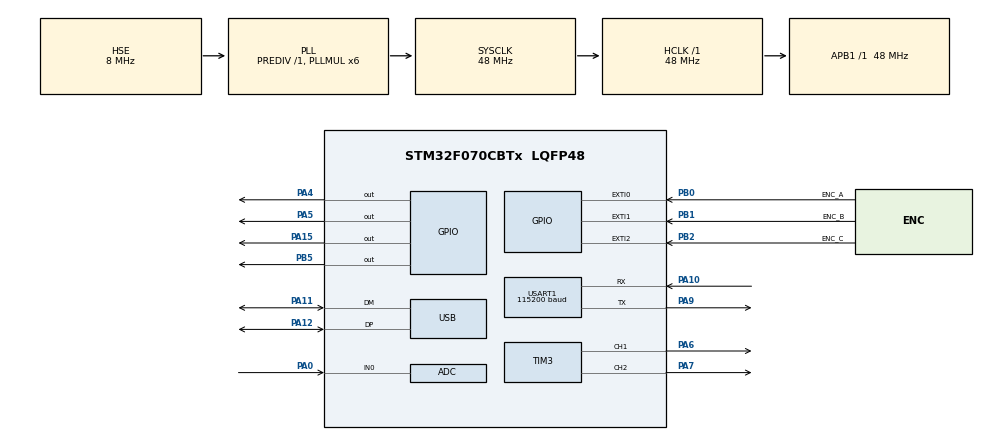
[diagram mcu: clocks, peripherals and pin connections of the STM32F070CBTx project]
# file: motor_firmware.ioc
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Mcu.Family=STM32F0
Mcu.Name=STM32F070CBTx
Mcu.Package=LQFP48
NVIC.EXTI0_1_IRQn=true\:0\:0\:false\:true\:true\:1\:true\:true
NVIC.EXTI2_3_IRQn=true\:0\:0\:false\:true\:true\:2\:true\:true
NVIC.USART1_IRQn=true\:0\:0\:false\:false\:true\:true\:true
NVIC.USB_IRQn=true\:0\:0\:false\:false\:true\:true\:true
PA0.Mode=IN0
PA0.Signal=ADC_IN0
PA10.Mode=Asynchronous
PA10.Signal=USART1_RX
PA11.Mode=Device
PA11.Signal=USB_DM
PA12.Mode=Device
PA12.Signal=USB_DP
PA15.PinState=GPIO_PIN_SET
PA15.Signal=GPIO_Output
PA4.Signal=GPIO_Output
PA5.Signal=GPIO_Output
PA6.Signal=S_TIM3_CH1
PA7.Signal=S_TIM3_CH2
PA9.Mode=Asynchronous
PA9.Signal=USART1_TX
PB0.GPIO_Label=ENC_A
PB0.GPIO_PuPd=GPIO_PULLUP
PB0.Signal=GPXTI0
PB1.GPIO_Label=ENC_B
PB1.GPIO_PuPd=GPIO_PULLUP
PB1.Signal=GPXTI1
PB2.GPIO_Label=ENC_C
PB2.GPIO_PuPd=GPIO_PULLUP
PB2.Signal=GPXTI2
PB5.Signal=GPIO_Output
PF0-OSC_IN.Mode=HSE-External-Oscillator
PF0-OSC_IN.Signal=RCC_OSC_IN
PF1-OSC_OUT.Mode=HSE-External-Oscillator
PF1-OSC_OUT.Signal=RCC_OSC_OUT
ProjectManager.HeapSize=0x200
ProjectManager.StackSize=0x400
ProjectManager.TargetToolchain=Makefile
RCC.AHBFreq_Value=48000000
RCC.APB1Freq_Value=48000000
RCC.APB1TimFreq_Value=48000000
RCC.HCLKFreq_Value=48000000
RCC.PLLMUL=RCC_PLL_MUL6
RCC.SYSCLKFreq_VALUE=48000000
RCC.SYSCLKSource=RCC_SYSCLKSOURCE_PLLCLK
SH.S_TIM3_CH1.0=TIM3_CH1,PWM Generation1 CH1
SH.S_TIM3_CH2.0=TIM3_CH2,PWM Generation2 CH2
TIM3.Channel-PWM\ Generation1\ CH1=TIM_CHANNEL_1
TIM3.Channel-PWM\ Generation2\ CH2=TIM_CHANNEL_2
USART1.BaudRate=115200
USART1.VirtualMode-Asynchronous=VM_ASYNC
USB_DEVICE.APP_RX_DATA_SIZE=100
USB_DEVICE.APP_TX_DATA_SIZE=100
USB_DEVICE.CLASS_NAME_FS=CDC
USB_DEVICE.MANUFACTURER_STRING=reboot.love
USB_DEVICE.PRODUCT_STRING_CDC_FS=brushed_motor_controller
USB_DEVICE.VirtualMode=Cdc
USB_DEVICE.VirtualModeFS=Cdc_FS
VP_TIM1_VS_ClockSourceINT.Mode=Internal
VP_TIM3_VS_ClockSourceINT.Mode=Internal
VP_TIM3_VS_ClockSourceITR.Mode=TriggerSource_ITR0
VP_USB_DEVICE_VS_USB_DEVICE_CDC_FS.Mode=CDC_FS
board=custom

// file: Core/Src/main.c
/* USER CODE BEGIN Header */
/**
  ******************************************************************************
  * @file           : main.c
  * @brief          : Main program body
  ******************************************************************************
  * @attention
  *
  * <h2><center>&copy; Copyright (c) 2021 STMicroelectronics.
  * All rights reserved.</center></h2>
  *
  * This software component is licensed by ST under Ultimate Liberty license
  * SLA0044, the "License"; You may not use this file except in compliance with
  * the License. You may obtain a copy of the License at:
  *                             www.st.com/SLA0044
  *
  ******************************************************************************
  */
/* USER CODE END Header */
#include "main.h"
#include "usb_device.h"

ADC_HandleTypeDef hadc;

TIM_HandleTypeDef htim1;
TIM_HandleTypeDef htim3;

UART_HandleTypeDef huart1;

/* USER CODE BEGIN PV */

volatile uint32_t enc_a_count = 0;
volatile uint32_t enc_b_count = 0;
volatile uint32_t enc_c_count = 0;

/* USER CODE END PV */

void SystemClock_Config(void);
static void MX_GPIO_Init(void);
static void MX_ADC_Init(void);
static void MX_TIM1_Init(void);
static void MX_TIM3_Init(void);
static void MX_USART1_UART_Init(void);
static void MX_NVIC_Init(void);

int main(void)
{

  /* MCU Configuration--------------------------------------------------------*/

  /* Reset of all peripherals, Initializes the Flash interface and the Systick. */
  HAL_Init();

  /* Configure the system clock */
  SystemClock_Config();

  /* Initialize all configured peripherals */
  MX_GPIO_Init();
  MX_ADC_Init();
  MX_TIM1_Init();
  MX_TIM3_Init();
  MX_USART1_UART_Init();
  MX_USB_DEVICE_Init();

  /* Initialize interrupts */
  MX_NVIC_Init();

  /* Infinite loop */
  /* USER CODE BEGIN WHILE */
  uint8_t* Buf [20];
  uint16_t Len = 5;

  int dutyCycle = 0;

  CDC_Transmit_FS("USB START\n", 10);

  HAL_Delay(5000);

  HAL_TIM_PWM_Start(&htim3, TIM_CHANNEL_1);    //starts PWM on CH2 pin
  HAL_GPIO_WritePin(GPIOA, GPIO_PIN_4, GPIO_PIN_RESET);

  HAL_TIM_PWM_Start(&htim3, TIM_CHANNEL_2);    //starts PWM on CH2 pin
  HAL_GPIO_WritePin(GPIOA, GPIO_PIN_5, GPIO_PIN_RESET);

  HAL_ADCEx_Calibration_Start(&hadc);

  HAL_ADC_Start(&hadc);
  uint16_t current_sense = 0;

  int increment = 2000;
  uint8_t usb_buffer [100];
  uint32_t loop_count = 0;
  uint32_t loop_limit = 20;
  uint32_t speed = 0;
  while (1)
  {
    loop_count+=1;
    /* USER CODE END WHILE */

    /* USER CODE BEGIN 3 */

    int count = VCP_read(&usb_buffer, 10);

    if(count>0)
    {
      Len = sprintf (Buf, "count: %d\n", count);
      CDC_Transmit_FS(Buf, Len);
      HAL_Delay(1);
      CDC_Transmit_FS(usb_buffer, count);
    }
    //
    int i;
    for(i=0;i<100;i++)
    {

      if(usb_buffer[i]=='B')
      {
      HAL_Delay(1);
        CDC_Transmit_FS("GOT B\n", 6);
        dutyCycle = 60000;
      }
      if(usb_buffer[i]=='N')
      {
      HAL_Delay(1);
        CDC_Transmit_FS("GOT N\n", 6);
        dutyCycle = -1;
      }
      usb_buffer[i] = 0;
    }

      HAL_Delay(1);
      //dutyCycle+=increment;
      if(dutyCycle>64000)
      {
        increment *= -1;
      }
      if(dutyCycle<-64000)
      {
        increment *= -1;
      }

      if(dutyCycle > 0)
      {

        HAL_GPIO_WritePin(GPIOA, GPIO_PIN_5, GPIO_PIN_RESET);
        __HAL_TIM_SET_COMPARE(&htim3, TIM_CHANNEL_2, 0); //sets the PWM duty cycle (Capture Compare Value
          HAL_Delay(1);
        HAL_GPIO_WritePin(GPIOA, GPIO_PIN_4, GPIO_PIN_SET);
        __HAL_TIM_SET_COMPARE(&htim3, TIM_CHANNEL_1, dutyCycle); //sets the PWM duty cycle (Capture Compare Value
      }
      else{

          HAL_GPIO_WritePin(GPIOA, GPIO_PIN_4, GPIO_PIN_RESET);
        __HAL_TIM_SET_COMPARE(&htim3, TIM_CHANNEL_1, 0); //sets the PWM duty cycle (Capture Compare Value
          HAL_Delay(1);
          HAL_GPIO_WritePin(GPIOA, GPIO_PIN_5, GPIO_PIN_SET);
        __HAL_TIM_SET_COMPARE(&htim3, TIM_CHANNEL_2, -dutyCycle); //sets the PWM duty cycle (Capture Compare Value
      }
      HAL_ADC_Start(&hadc);
      // Poll ADC1 Perihperal & TimeOut = 1mSec
      HAL_ADC_PollForConversion(&hadc, 0);
      current_sense = HAL_ADC_GetValue(&hadc);

      // HAL_ADC_PollForConversion(&hadc, 1);
      // HAL_ADC_GetValue(&hadc);
      if(loop_count > loop_limit)
      {
        loop_count = 0;
        speed = enc_a_count;
        Len = sprintf (Buf, "current: %d\n", speed);
        CDC_Transmit_FS(Buf, Len);
        enc_a_count = 0;
      }

      // if(speed > 8)
      // {
      //   dutyCycle-= 100;
      // }
      // if(speed < 6)
      // {
      //   dutyCycle+= 100;
      //
      // }
      // if(dutyCycle > 64000) dutyCycle=64000;
      // if(dutyCycle < 1) dutyCycle=1;

      //CDC_Putc(usb_buffer);

      // HAL_GPIO_WritePin(GPIOA, GPIO_PIN_6, GPIO_PIN_SET);
      // HAL_GPIO_WritePin(GPIOA, GPIO_PIN_4, GPIO_PIN_SET);
      // HAL_Delay(50);
      //

      // HAL_GPIO_WritePin(GPIOA, GPIO_PIN_6, GPIO_PIN_RESET);
      // HAL_GPIO_WritePin(GPIOA, GPIO_PIN_4, GPIO_PIN_RESET);
      // HAL_Delay(50);

  }
  /* USER CODE END 3 */
}

void SystemClock_Config(void)
{
  RCC_OscInitTypeDef RCC_OscInitStruct = {0};
  RCC_ClkInitTypeDef RCC_ClkInitStruct = {0};
  RCC_PeriphCLKInitTypeDef PeriphClkInit = {0};

  /** Initializes the RCC Oscillators according to the specified parameters
  * in the RCC_OscInitTypeDef structure.
  */
  RCC_OscInitStruct.OscillatorType = RCC_OSCILLATORTYPE_HSI14|RCC_OSCILLATORTYPE_HSE;
  RCC_OscInitStruct.HSEState = RCC_HSE_ON;
  RCC_OscInitStruct.HSI14State = RCC_HSI14_ON;
  RCC_OscInitStruct.HSI14CalibrationValue = 16;
  RCC_OscInitStruct.PLL.PLLState = RCC_PLL_ON;
  RCC_OscInitStruct.PLL.PLLSource = RCC_PLLSOURCE_HSE;
  RCC_OscInitStruct.PLL.PLLMUL = RCC_PLL_MUL6;
  RCC_OscInitStruct.PLL.PREDIV = RCC_PREDIV_DIV1;
  if (HAL_RCC_OscConfig(&RCC_OscInitStruct) != HAL_OK)
  {
    Error_Handler();
  }
  /** Initializes the CPU, AHB and APB buses clocks
  */
  RCC_ClkInitStruct.ClockType = RCC_CLOCKTYPE_HCLK|RCC_CLOCKTYPE_SYSCLK
                              |RCC_CLOCKTYPE_PCLK1;
  RCC_ClkInitStruct.SYSCLKSource = RCC_SYSCLKSOURCE_PLLCLK;
  RCC_ClkInitStruct.AHBCLKDivider = RCC_SYSCLK_DIV1;
  RCC_ClkInitStruct.APB1CLKDivider = RCC_HCLK_DIV1;

  if (HAL_RCC_ClockConfig(&RCC_ClkInitStruct, FLASH_LATENCY_1) != HAL_OK)
  {
    Error_Handler();
  }
  PeriphClkInit.PeriphClockSelection = RCC_PERIPHCLK_USB|RCC_PERIPHCLK_USART1;
  PeriphClkInit.Usart1ClockSelection = RCC_USART1CLKSOURCE_PCLK1;
  PeriphClkInit.UsbClockSelection = RCC_USBCLKSOURCE_PLL;

  if (HAL_RCCEx_PeriphCLKConfig(&PeriphClkInit) != HAL_OK)
  {
    Error_Handler();
  }
}

/**
  * @brief NVIC Configuration.
  * @retval None
  */
static void MX_NVIC_Init(void)
{
  /* EXTI0_1_IRQn interrupt configuration */
  HAL_NVIC_SetPriority(EXTI0_1_IRQn, 0, 0);
  HAL_NVIC_EnableIRQ(EXTI0_1_IRQn);
  /* EXTI2_3_IRQn interrupt configuration */
  HAL_NVIC_SetPriority(EXTI2_3_IRQn, 0, 0);
  HAL_NVIC_EnableIRQ(EXTI2_3_IRQn);
}

static void MX_ADC_Init(void)
{

  ADC_ChannelConfTypeDef sConfig = {0};

  /** Configure the global features of the ADC (Clock, Resolution, Data Alignment and number of conversion)
  */
  hadc.Instance = ADC1;
  hadc.Init.ClockPrescaler = ADC_CLOCK_ASYNC_DIV1;
  hadc.Init.Resolution = ADC_RESOLUTION_12B;
  hadc.Init.DataAlign = ADC_DATAALIGN_RIGHT;
  hadc.Init.ScanConvMode = ADC_SCAN_DIRECTION_FORWARD;
  hadc.Init.EOCSelection = ADC_EOC_SINGLE_CONV;
  hadc.Init.LowPowerAutoWait = DISABLE;
  hadc.Init.LowPowerAutoPowerOff = DISABLE;
  hadc.Init.ContinuousConvMode = DISABLE;
  hadc.Init.DiscontinuousConvMode = DISABLE;
  hadc.Init.ExternalTrigConv = ADC_SOFTWARE_START;
  hadc.Init.ExternalTrigConvEdge = ADC_EXTERNALTRIGCONVEDGE_NONE;
  hadc.Init.DMAContinuousRequests = DISABLE;
  hadc.Init.Overrun = ADC_OVR_DATA_PRESERVED;
  if (HAL_ADC_Init(&hadc) != HAL_OK)
  {
    Error_Handler();
  }
  /** Configure for the selected ADC regular channel to be converted.
  */
  sConfig.Channel = ADC_CHANNEL_0;
  sConfig.Rank = ADC_RANK_CHANNEL_NUMBER;
  sConfig.SamplingTime = ADC_SAMPLETIME_1CYCLE_5;
  if (HAL_ADC_ConfigChannel(&hadc, &sConfig) != HAL_OK)
  {
    Error_Handler();
  }

}

static void MX_TIM1_Init(void)
{

  TIM_ClockConfigTypeDef sClockSourceConfig = {0};
  TIM_MasterConfigTypeDef sMasterConfig = {0};

  htim1.Instance = TIM1;
  htim1.Init.Prescaler = 0;
  htim1.Init.CounterMode = TIM_COUNTERMODE_UP;
  htim1.Init.Period = 65535;
  htim1.Init.ClockDivision = TIM_CLOCKDIVISION_DIV1;
  htim1.Init.RepetitionCounter = 0;
  htim1.Init.AutoReloadPreload = TIM_AUTORELOAD_PRELOAD_DISABLE;
  if (HAL_TIM_Base_Init(&htim1) != HAL_OK)
  {
    Error_Handler();
  }
  sClockSourceConfig.ClockSource = TIM_CLOCKSOURCE_INTERNAL;
  if (HAL_TIM_ConfigClockSource(&htim1, &sClockSourceConfig) != HAL_OK)
  {
    Error_Handler();
  }
  sMasterConfig.MasterOutputTrigger = TIM_TRGO_RESET;
  sMasterConfig.MasterSlaveMode = TIM_MASTERSLAVEMODE_DISABLE;
  if (HAL_TIMEx_MasterConfigSynchronization(&htim1, &sMasterConfig) != HAL_OK)
  {
    Error_Handler();
  }

}

static void MX_TIM3_Init(void)
{

  TIM_ClockConfigTypeDef sClockSourceConfig = {0};
  TIM_SlaveConfigTypeDef sSlaveConfig = {0};
  TIM_MasterConfigTypeDef sMasterConfig = {0};
  TIM_OC_InitTypeDef sConfigOC = {0};

  htim3.Instance = TIM3;
  htim3.Init.Prescaler = 0;
  htim3.Init.CounterMode = TIM_COUNTERMODE_UP;
  htim3.Init.Period = 65535;
  htim3.Init.ClockDivision = TIM_CLOCKDIVISION_DIV1;
  htim3.Init.AutoReloadPreload = TIM_AUTORELOAD_PRELOAD_DISABLE;
  if (HAL_TIM_Base_Init(&htim3) != HAL_OK)
  {
    Error_Handler();
  }
  sClockSourceConfig.ClockSource = TIM_CLOCKSOURCE_INTERNAL;
  if (HAL_TIM_ConfigClockSource(&htim3, &sClockSourceConfig) != HAL_OK)
  {
    Error_Handler();
  }
  if (HAL_TIM_PWM_Init(&htim3) != HAL_OK)
  {
    Error_Handler();
  }
  sSlaveConfig.SlaveMode = TIM_SLAVEMODE_DISABLE;
  sSlaveConfig.InputTrigger = TIM_TS_ITR0;
  if (HAL_TIM_SlaveConfigSynchro(&htim3, &sSlaveConfig) != HAL_OK)
  {
    Error_Handler();
  }
  sMasterConfig.MasterOutputTrigger = TIM_TRGO_RESET;
  sMasterConfig.MasterSlaveMode = TIM_MASTERSLAVEMODE_DISABLE;
  if (HAL_TIMEx_MasterConfigSynchronization(&htim3, &sMasterConfig) != HAL_OK)
  {
    Error_Handler();
  }
  sConfigOC.OCMode = TIM_OCMODE_PWM1;
  sConfigOC.Pulse = 0;
  sConfigOC.OCPolarity = TIM_OCPOLARITY_HIGH;
  sConfigOC.OCFastMode = TIM_OCFAST_DISABLE;
  if (HAL_TIM_PWM_ConfigChannel(&htim3, &sConfigOC, TIM_CHANNEL_1) != HAL_OK)
  {
    Error_Handler();
  }
  if (HAL_TIM_PWM_ConfigChannel(&htim3, &sConfigOC, TIM_CHANNEL_2) != HAL_OK)
  {
    Error_Handler();
  }
  HAL_TIM_MspPostInit(&htim3);

}

static void MX_USART1_UART_Init(void)
{

  huart1.Instance = USART1;
  huart1.Init.BaudRate = 115200;
  huart1.Init.WordLength = UART_WORDLENGTH_8B;
  huart1.Init.StopBits = UART_STOPBITS_1;
  huart1.Init.Parity = UART_PARITY_NONE;
  huart1.Init.Mode = UART_MODE_TX_RX;
  huart1.Init.HwFlowCtl = UART_HWCONTROL_NONE;
  huart1.Init.OverSampling = UART_OVERSAMPLING_16;
  huart1.Init.OneBitSampling = UART_ONE_BIT_SAMPLE_DISABLE;
  huart1.AdvancedInit.AdvFeatureInit = UART_ADVFEATURE_NO_INIT;
  if (HAL_UART_Init(&huart1) != HAL_OK)
  {
    Error_Handler();
  }

}

static void MX_GPIO_Init(void)
{
  GPIO_InitTypeDef GPIO_InitStruct = {0};

  /* GPIO Ports Clock Enable */
  __HAL_RCC_GPIOF_CLK_ENABLE();
  __HAL_RCC_GPIOA_CLK_ENABLE();
  __HAL_RCC_GPIOB_CLK_ENABLE();

  /*Configure GPIO pin Output Level */
  HAL_GPIO_WritePin(GPIOA, GPIO_PIN_4|GPIO_PIN_5, GPIO_PIN_RESET);

  /*Configure GPIO pin Output Level */
  HAL_GPIO_WritePin(GPIOA, GPIO_PIN_15, GPIO_PIN_SET);

  /*Configure GPIO pin Output Level */
  HAL_GPIO_WritePin(GPIOB, GPIO_PIN_5, GPIO_PIN_RESET);

  /*Configure GPIO pins : PA4 PA5 PA15 */
  GPIO_InitStruct.Pin = GPIO_PIN_4|GPIO_PIN_5|GPIO_PIN_15;
  GPIO_InitStruct.Mode = GPIO_MODE_OUTPUT_PP;
  GPIO_InitStruct.Pull = GPIO_NOPULL;
  GPIO_InitStruct.Speed = GPIO_SPEED_FREQ_LOW;
  HAL_GPIO_Init(GPIOA, &GPIO_InitStruct);

  /*Configure GPIO pins : ENC_A_Pin ENC_B_Pin ENC_C_Pin */
  GPIO_InitStruct.Pin = ENC_A_Pin|ENC_B_Pin|ENC_C_Pin;
  GPIO_InitStruct.Mode = GPIO_MODE_IT_RISING;
  GPIO_InitStruct.Pull = GPIO_PULLUP;
  HAL_GPIO_Init(GPIOB, &GPIO_InitStruct);

  /*Configure GPIO pin : PB5 */
  GPIO_InitStruct.Pin = GPIO_PIN_5;
  GPIO_InitStruct.Mode = GPIO_MODE_OUTPUT_PP;
  GPIO_InitStruct.Pull = GPIO_NOPULL;
  GPIO_InitStruct.Speed = GPIO_SPEED_FREQ_LOW;
  HAL_GPIO_Init(GPIOB, &GPIO_InitStruct);

}

/* USER CODE BEGIN 4 */
void HAL_GPIO_EXTI_Callback(uint16_t GPIO_Pin)
{
  switch (GPIO_Pin)
 {
     case ENC_A_Pin: enc_a_count += 1; break;
     case ENC_B_Pin: enc_b_count += 1; break;
     case ENC_C_Pin: enc_c_count += 1; break;
 }
}

/* USER CODE END 4 */

void Error_Handler(void)
{
  __disable_irq();
  while (1)
  {
  }
}

/************************ (C) COPYRIGHT STMicroelectronics *****END OF FILE****/
